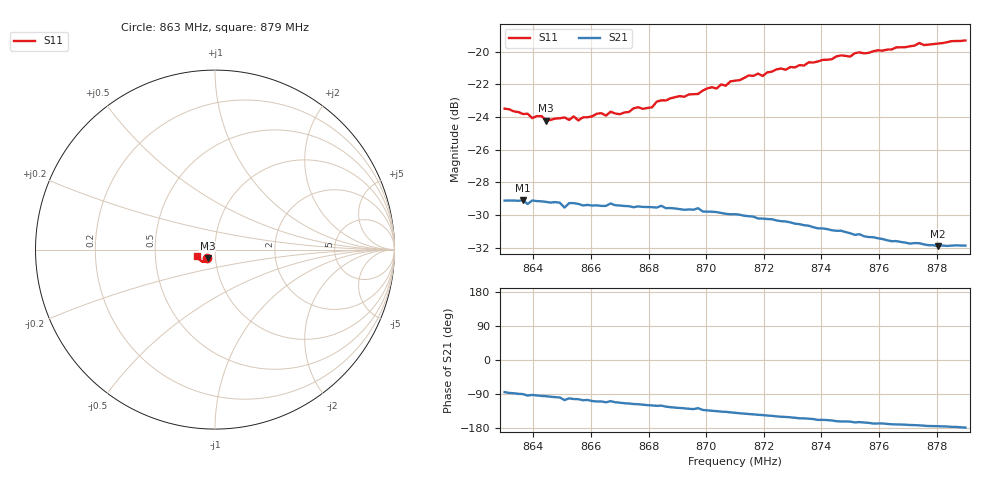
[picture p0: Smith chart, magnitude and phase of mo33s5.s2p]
# HZ S RI R 50
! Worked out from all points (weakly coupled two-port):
!   101 points, 863 MHz to 879 MHz, reference 50 ohm
!   highest |S21| = -29.10 dB at 863.64 MHz (marker M1); lowest = -31.9 dB at 878.04 MHz (marker M2)
!   lowest |S11| = -24.2 dB at 864.44 MHz (marker M3), VSWR 1.13, Z = 46 - j4.36 ohm
!   |S11| at or under -10 dB: start of sweep to end of sweep
!   S12 and S22 are empty: the file has one direction only
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8.63e8  -0.0466 -0.0481  0.00319 -0.0349  0 0  0 0
8.6364e8  -0.0437 -0.0474  4.1e-05 -0.0351  0 0  0 0
8.638e8  -0.0436 -0.0476  -0.00237 -0.0341  0 0  0 0
8.6396e8  -0.042 -0.0464  -0.00134 -0.035  0 0  0 0
8.6428e8  -0.0401 -0.0493  -0.00289 -0.0347  0 0  0 0
8.6444e8  -0.0394 -0.0472  -0.00336 -0.0345  0 0  0 0
8.6492e8  -0.0385 -0.0493  -0.00537 -0.0341  0 0  0 0
8.6508e8  -0.0382 -0.05  -0.00907 -0.0321  0 0  0 0
8.6524e8  -0.0373 -0.0493  -0.00667 -0.0337  0 0  0 0
8.654e8  -0.039 -0.05  -0.00776 -0.0335  0 0  0 0
8.6556e8  -0.0374 -0.0489  -0.00791 -0.0333  0 0  0 0
8.6572e8  -0.0356 -0.0519  -0.00943 -0.0325  0 0  0 0
8.6668e8  -0.0368 -0.0542  -0.0109 -0.0325  0 0  0 0
8.6812e8  -0.0354 -0.0575  -0.0166 -0.029  0 0  0 0
8.6844e8  -0.038 -0.0599  -0.017 -0.0292  0 0  0 0
8.6972e8  -0.0367 -0.0645  -0.02 -0.0265  0 0  0 0
8.71e8  -0.0468 -0.0668  -0.0241 -0.0207  0 0  0 0
8.7372e8  -0.0632 -0.0677  -0.0265 -0.0118  0 0  0 0
8.7644e8  -0.0842 -0.0568  -0.0259 -0.00475  0 0  0 0
8.774e8  -0.0927 -0.0521  -0.0257 -0.00343  0 0  0 0
8.7804e8  -0.095 -0.0467  -0.0253 -0.00235  0 0  0 0
8.79e8  -0.1014 -0.0379  -0.0255 -0.000723  0 0  0 0
